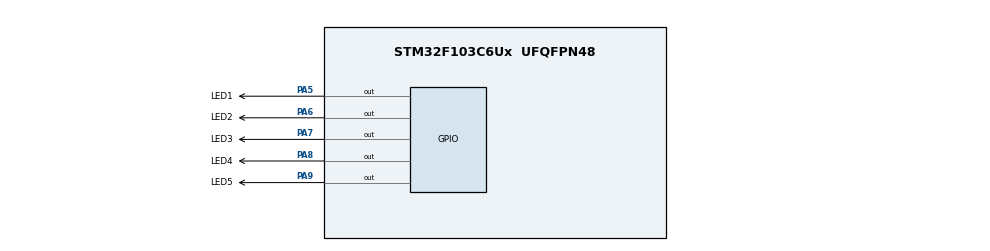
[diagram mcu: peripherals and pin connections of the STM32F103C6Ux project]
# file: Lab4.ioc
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Mcu.Family=STM32F1
Mcu.Name=STM32F103C6Ux
Mcu.Package=UFQFPN48
NVIC.PriorityGroup=NVIC_PRIORITYGROUP_4
NVIC.TIM2_IRQn=true\:0\:0\:false\:false\:true\:true\:true
PA5.GPIO_Label=LED1
PA5.Signal=GPIO_Output
PA6.GPIO_Label=LED2
PA6.Signal=GPIO_Output
PA7.GPIO_Label=LED3
PA7.Signal=GPIO_Output
PA8.GPIO_Label=LED4
PA8.Signal=GPIO_Output
PA9.GPIO_Label=LED5
PA9.Signal=GPIO_Output
ProjectManager.HeapSize=0x200
ProjectManager.StackSize=0x400
ProjectManager.TargetToolchain=STM32CubeIDE
RCC.APB1Freq_Value=8000000
RCC.APB2Freq_Value=8000000
TIM2.Period=10
TIM2.Prescaler=7999
VP_SYS_VS_ND.Mode=No_Debug
VP_TIM2_VS_ClockSourceINT.Mode=Internal
board=custom

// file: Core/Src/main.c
/* USER CODE BEGIN Header */
/**
  ******************************************************************************
  * @file           : main.c
  * @brief          : Main program body
  ******************************************************************************
  * @attention
  *
  * <h2><center>&copy; Copyright (c) 2022 STMicroelectronics.
  * All rights reserved.</center></h2>
  *
  * This software component is licensed by ST under BSD 3-Clause license,
  * the "License"; You may not use this file except in compliance with the
  * License. You may obtain a copy of the License at:
  *                        opensource.org/licenses/BSD-3-Clause
  *
  ******************************************************************************
  */
/* USER CODE END Header */
#include "main.h"

TIM_HandleTypeDef htim2;

void SystemClock_Config(void);
static void MX_GPIO_Init(void);
static void MX_TIM2_Init(void);

/* USER CODE BEGIN 0 */
void blink_led1(){
	HAL_GPIO_TogglePin(LED1_GPIO_Port, LED1_Pin);
}
void blink_led2(){
	HAL_GPIO_TogglePin(LED2_GPIO_Port, LED2_Pin);
}
void blink_led3(){
	HAL_GPIO_TogglePin(LED3_GPIO_Port, LED3_Pin);
}
void blink_led4(){
	HAL_GPIO_TogglePin(LED4_GPIO_Port, LED4_Pin);
}
void blink_led5(){
	HAL_GPIO_TogglePin(LED5_GPIO_Port,LED5_Pin);
}

typedef struct{
	 void (*pTask)(void);
	 uint32_t Delay;
	 uint8_t Period;
	 uint32_t RunMe;
 }sTask;

#define SCH_MAX_TASKS 5

sTask SCH_tasks_G[SCH_MAX_TASKS];

void SCH_Delete_Task(unsigned char TASK_INDEX){
	  for(unsigned int i = TASK_INDEX+1; i<SCH_MAX_TASKS; i++){
		  //shift left
		  	SCH_tasks_G[i-1].pTask = SCH_tasks_G[i].pTask;
			SCH_tasks_G[i-1].Delay = SCH_tasks_G[i].Delay ;
			SCH_tasks_G[i-1].Period = SCH_tasks_G[i].Period ;
			SCH_tasks_G[i-1].RunMe = SCH_tasks_G[i].RunMe ;
	  }
	  SCH_tasks_G[SCH_MAX_TASKS-1].pTask = 0x0000 ;
	  SCH_tasks_G[SCH_MAX_TASKS-1].Delay = 0 ;
	  SCH_tasks_G[SCH_MAX_TASKS-1].Period = 0 ;
	  SCH_tasks_G[SCH_MAX_TASKS-1].RunMe = 0 ;
 }

void SCH_Delete_Task1(unsigned char TASK_INDEX){
	  SCH_tasks_G[TASK_INDEX].pTask = 0x0000 ;
	  SCH_tasks_G[TASK_INDEX].Delay = 0 ;
	  SCH_tasks_G[TASK_INDEX].Period = 0 ;
	  SCH_tasks_G[TASK_INDEX].RunMe = 0 ;
 }

void SCH_Init(){
	for( unsigned char i = 0; i<SCH_MAX_TASKS; i++){
		SCH_Delete_Task1(i);
	}
}
 void SCH_Update(void){
	 	unsigned char index = 0;;
	 	 if(SCH_tasks_G[index].pTask){
			  if(SCH_tasks_G[index].Delay <= 0){
				  SCH_tasks_G [index].RunMe += 1;
			  }else{
				  SCH_tasks_G[index].Delay -= 1;
			  }
		  }
}
void SCH_Add_Task(void(*pFunction )(), unsigned int DELAY, unsigned int PERIOD){
	unsigned int pos = 0;
	unsigned int pos2 = 0;
	for(pos = 0; pos<SCH_MAX_TASKS; pos++){
		if(SCH_tasks_G[pos].pTask ==0){
			break;
		}
	}
	if(pos==SCH_MAX_TASKS) return;
	// queue is empty
	if(SCH_tasks_G[0].pTask == 0){
		SCH_tasks_G[0].pTask = pFunction;
		SCH_tasks_G[0].Delay = DELAY;
		SCH_tasks_G[0].Period = PERIOD;
		SCH_tasks_G[0].RunMe = 0;
	}else{
		unsigned int valDelay = DELAY;
			for(int i = 0; i<=pos; i++){
				if(SCH_tasks_G[i].Delay <= valDelay && SCH_tasks_G[i].pTask){ // cu nho hon bang moi
					valDelay -= SCH_tasks_G[i].Delay ;
				}else{
					pos2 = i;
					if (SCH_tasks_G[i].pTask)
						SCH_tasks_G[i].Delay -= valDelay;
					break;
				}
			}
			for(int j = pos; j>pos2; j--){
				SCH_tasks_G[j].pTask = SCH_tasks_G[j-1].pTask;
				SCH_tasks_G[j].Delay = SCH_tasks_G[j-1].Delay;
				SCH_tasks_G[j].Period = SCH_tasks_G[j-1].Period;
				SCH_tasks_G[j].RunMe = SCH_tasks_G[j-1].RunMe;
			}
			SCH_tasks_G[pos2].pTask = pFunction;
			SCH_tasks_G[pos2].Delay = valDelay;
			SCH_tasks_G[pos2].Period = PERIOD;
			SCH_tasks_G[pos2].RunMe = 0;
	}
}

 void SCH_Dispatch_Tasks(void){
	 unsigned char index = 0;
	 sTask tempTask;
	 for(index = 0; index<SCH_MAX_TASKS; index++){
		 if ( SCH_tasks_G[index].RunMe > 0) {
			  (*SCH_tasks_G[index].pTask)(); // Run the task
			  SCH_tasks_G[index].RunMe -= 1; // Reset / reduce RunMe flag
			  //luu lai task hien tai vao tempTask
			  tempTask.Period = SCH_tasks_G[index].Period;
			  tempTask.pTask = SCH_tasks_G[index].pTask;
			  //-----------------------------------//
			  SCH_Delete_Task(index) ;
			  if(tempTask.Period > 0){ /*neu Task ko phai One Shot add vao lai array*/
				  SCH_Add_Task(tempTask.pTask, tempTask.Period, tempTask.Period);
			  }
		  }
	}
 }

/* USER CODE END 0 */

int main(void)
{

  /* MCU Configuration--------------------------------------------------------*/

  /* Reset of all peripherals, Initializes the Flash interface and the Systick. */
  HAL_Init();

  /* Configure the system clock */
  SystemClock_Config();

  /* Initialize all configured peripherals */
  MX_GPIO_Init();
  MX_TIM2_Init();
  /* USER CODE BEGIN 2 */
  HAL_TIM_Base_Start_IT(&htim2);
   SCH_Init();
   SCH_Add_Task(blink_led1,5,50);
   SCH_Add_Task(blink_led2,10,100);
   SCH_Add_Task(blink_led3,15,150);
   SCH_Add_Task(blink_led4,20,200);
   SCH_Add_Task(blink_led5,25,250);
  /* USER CODE END 2 */

  /* Infinite loop */
  while (1)
  {
	  SCH_Dispatch_Tasks();
  }
}

void SystemClock_Config(void)
{
  RCC_OscInitTypeDef RCC_OscInitStruct = {0};
  RCC_ClkInitTypeDef RCC_ClkInitStruct = {0};

  /** Initializes the RCC Oscillators according to the specified parameters
  * in the RCC_OscInitTypeDef structure.
  */
  RCC_OscInitStruct.OscillatorType = RCC_OSCILLATORTYPE_HSI;
  RCC_OscInitStruct.HSIState = RCC_HSI_ON;
  RCC_OscInitStruct.HSICalibrationValue = RCC_HSICALIBRATION_DEFAULT;
  RCC_OscInitStruct.PLL.PLLState = RCC_PLL_NONE;
  if (HAL_RCC_OscConfig(&RCC_OscInitStruct) != HAL_OK)
  {
    Error_Handler();
  }
  /** Initializes the CPU, AHB and APB buses clocks
  */
  RCC_ClkInitStruct.ClockType = RCC_CLOCKTYPE_HCLK|RCC_CLOCKTYPE_SYSCLK
                              |RCC_CLOCKTYPE_PCLK1|RCC_CLOCKTYPE_PCLK2;
  RCC_ClkInitStruct.SYSCLKSource = RCC_SYSCLKSOURCE_HSI;
  RCC_ClkInitStruct.AHBCLKDivider = RCC_SYSCLK_DIV1;
  RCC_ClkInitStruct.APB1CLKDivider = RCC_HCLK_DIV1;
  RCC_ClkInitStruct.APB2CLKDivider = RCC_HCLK_DIV1;

  if (HAL_RCC_ClockConfig(&RCC_ClkInitStruct, FLASH_LATENCY_0) != HAL_OK)
  {
    Error_Handler();
  }
}

static void MX_TIM2_Init(void)
{

  TIM_ClockConfigTypeDef sClockSourceConfig = {0};
  TIM_MasterConfigTypeDef sMasterConfig = {0};

  htim2.Instance = TIM2;
  htim2.Init.Prescaler = 7999;
  htim2.Init.CounterMode = TIM_COUNTERMODE_UP;
  htim2.Init.Period = 10;
  htim2.Init.ClockDivision = TIM_CLOCKDIVISION_DIV1;
  htim2.Init.AutoReloadPreload = TIM_AUTORELOAD_PRELOAD_DISABLE;
  if (HAL_TIM_Base_Init(&htim2) != HAL_OK)
  {
    Error_Handler();
  }
  sClockSourceConfig.ClockSource = TIM_CLOCKSOURCE_INTERNAL;
  if (HAL_TIM_ConfigClockSource(&htim2, &sClockSourceConfig) != HAL_OK)
  {
    Error_Handler();
  }
  sMasterConfig.MasterOutputTrigger = TIM_TRGO_RESET;
  sMasterConfig.MasterSlaveMode = TIM_MASTERSLAVEMODE_DISABLE;
  if (HAL_TIMEx_MasterConfigSynchronization(&htim2, &sMasterConfig) != HAL_OK)
  {
    Error_Handler();
  }

}

static void MX_GPIO_Init(void)
{
  GPIO_InitTypeDef GPIO_InitStruct = {0};

  /* GPIO Ports Clock Enable */
  __HAL_RCC_GPIOA_CLK_ENABLE();

  /*Configure GPIO pin Output Level */
  HAL_GPIO_WritePin(GPIOA, LED1_Pin|LED2_Pin|LED3_Pin|LED4_Pin
                          |LED5_Pin, GPIO_PIN_RESET);

  /*Configure GPIO pins : LED1_Pin LED2_Pin LED3_Pin LED4_Pin
                           LED5_Pin */
  GPIO_InitStruct.Pin = LED1_Pin|LED2_Pin|LED3_Pin|LED4_Pin
                          |LED5_Pin;
  GPIO_InitStruct.Mode = GPIO_MODE_OUTPUT_PP;
  GPIO_InitStruct.Pull = GPIO_NOPULL;
  GPIO_InitStruct.Speed = GPIO_SPEED_FREQ_LOW;
  HAL_GPIO_Init(GPIOA, &GPIO_InitStruct);

}

/* USER CODE BEGIN 4 */
void HAL_TIM_PeriodElapsedCallback(TIM_HandleTypeDef *htim ){
	SCH_Update();
}
/* USER CODE END 4 */

void Error_Handler(void)
{
  __disable_irq();
  while (1)
  {
  }
}

/************************ (C) COPYRIGHT STMicroelectronics *****END OF FILE****/
